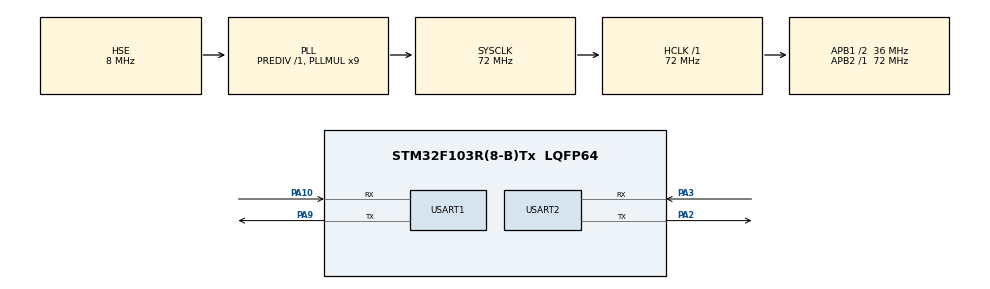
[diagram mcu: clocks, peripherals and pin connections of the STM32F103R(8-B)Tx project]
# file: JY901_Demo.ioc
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Mcu.Family=STM32F1
Mcu.Name=STM32F103R(8-B)Tx
Mcu.Package=LQFP64
NVIC.PriorityGroup=NVIC_PRIORITYGROUP_4
NVIC.USART1_IRQn=true\:0\:0\:false\:false\:true\:true\:true
PA10.Mode=Asynchronous
PA10.Signal=USART1_RX
PA2.Mode=Asynchronous
PA2.Signal=USART2_TX
PA3.Mode=Asynchronous
PA3.Signal=USART2_RX
PA9.Mode=Asynchronous
PA9.Signal=USART1_TX
PD0-OSC_IN.Mode=HSE-External-Oscillator
PD0-OSC_IN.Signal=RCC_OSC_IN
PD1-OSC_OUT.Mode=HSE-External-Oscillator
PD1-OSC_OUT.Signal=RCC_OSC_OUT
ProjectManager.HeapSize=0x200
ProjectManager.StackSize=0x400
ProjectManager.TargetToolchain=MDK-ARM V5.27
RCC.AHBFreq_Value=72000000
RCC.APB1CLKDivider=RCC_HCLK_DIV2
RCC.APB1Freq_Value=36000000
RCC.APB1TimFreq_Value=72000000
RCC.APB2Freq_Value=72000000
RCC.APB2TimFreq_Value=72000000
RCC.HCLKFreq_Value=72000000
RCC.PLLMUL=RCC_PLL_MUL9
RCC.PLLSourceVirtual=RCC_PLLSOURCE_HSE
RCC.SYSCLKFreq_VALUE=72000000
RCC.SYSCLKSource=RCC_SYSCLKSOURCE_PLLCLK
RCC.USBFreq_Value=72000000
USART1.VirtualMode=VM_ASYNC
USART2.VirtualMode=VM_ASYNC
VP_SYS_VS_ND.Mode=No_Debug
board=custom

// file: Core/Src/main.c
/* USER CODE BEGIN Header */
/**
  ******************************************************************************
  * @file           : main.c
  * @brief          : Main program body
  ******************************************************************************
  * @attention
  * 2021年10月7日调试完毕，串口1接收九轴传感器的数据，串口2调试输出数据
  * 可输出角度信息以及时间，加速度以及速度信息
  *
  ******************************************************************************
  */
/* USER CODE END Header */
#include "main.h"
#include "usart.h"
#include "gpio.h"

void SystemClock_Config(void);

/* USER CODE BEGIN 0 */
uint8_t temp;
uint8_t RxBuffer[10] = "\0";
float Roll, Pitch, Yaw, Tempera;
float ax, ay, az;
float sx, sy, sz;
/**
  * @brief  串口调试
  * @retval None
  */
#include "stdio.h"
#define DEBUG
#ifdef DEBUG
#define DBG(format, ...) fprintf(stdout, "[\tDBG](File:%s, Func:%s(), Line:%d): " \
                                , __FILE__, __FUNCTION__, __LINE__);             \
                         fprintf(stdout, format"\r\n", ##__VA_ARGS__)
#else
#define DBG(format, ...)  do {} while (0)
#endif

int fputc(int ch, FILE *f){
    uint8_t temp[1] = {ch};
    HAL_UART_Transmit(&huart2, temp, 1, 2);//huart1 根据配置修改
    return ch;
}
/* USER CODE END 0 */

int main(void)
{

  /* MCU Configuration--------------------------------------------------------*/

  /* Reset of all peripherals, Initializes the Flash interface and the Systick. */
  HAL_Init();

  /* Configure the system clock */
  SystemClock_Config();

  /* Initialize all configured peripherals */
  MX_GPIO_Init();
  MX_USART1_UART_Init();
  MX_USART2_UART_Init();
  /* USER CODE BEGIN 2 */
  HAL_UART_Receive_IT(&huart1, &temp, 1);
  /* USER CODE END 2 */

  /* Infinite loop */
  /* USER CODE BEGIN WHILE */
  while (1)
  {
    printf("翻滚角：%d\r\n", (int)Roll);
    printf("俯仰角：%d\r\n", (int)Pitch);
    printf("偏航角：%d\r\n\r\n", (int)Yaw);

    printf("角加速度：%d %d %d\r\n", (int)ax, (int)ay, (int)az);

    printf("角速度：%d %d %d\r\n", (int)sx, (int)sy, (int)sz);
    /* USER CODE END WHILE */

  }
}

void SystemClock_Config(void)
{
  RCC_OscInitTypeDef RCC_OscInitStruct = {0};
  RCC_ClkInitTypeDef RCC_ClkInitStruct = {0};

  /** Initializes the RCC Oscillators according to the specified parameters
  * in the RCC_OscInitTypeDef structure.
  */
  RCC_OscInitStruct.OscillatorType = RCC_OSCILLATORTYPE_HSE;
  RCC_OscInitStruct.HSEState = RCC_HSE_ON;
  RCC_OscInitStruct.HSEPredivValue = RCC_HSE_PREDIV_DIV1;
  RCC_OscInitStruct.HSIState = RCC_HSI_ON;
  RCC_OscInitStruct.PLL.PLLState = RCC_PLL_ON;
  RCC_OscInitStruct.PLL.PLLSource = RCC_PLLSOURCE_HSE;
  RCC_OscInitStruct.PLL.PLLMUL = RCC_PLL_MUL9;
  if (HAL_RCC_OscConfig(&RCC_OscInitStruct) != HAL_OK)
  {
    Error_Handler();
  }
  /** Initializes the CPU, AHB and APB buses clocks
  */
  RCC_ClkInitStruct.ClockType = RCC_CLOCKTYPE_HCLK|RCC_CLOCKTYPE_SYSCLK
                              |RCC_CLOCKTYPE_PCLK1|RCC_CLOCKTYPE_PCLK2;
  RCC_ClkInitStruct.SYSCLKSource = RCC_SYSCLKSOURCE_PLLCLK;
  RCC_ClkInitStruct.AHBCLKDivider = RCC_SYSCLK_DIV1;
  RCC_ClkInitStruct.APB1CLKDivider = RCC_HCLK_DIV2;
  RCC_ClkInitStruct.APB2CLKDivider = RCC_HCLK_DIV1;

  if (HAL_RCC_ClockConfig(&RCC_ClkInitStruct, FLASH_LATENCY_2) != HAL_OK)
  {
    Error_Handler();
  }
}

/* USER CODE BEGIN 4 */
void HAL_UART_RxCpltCallback(UART_HandleTypeDef *huart) {
  static uint8_t count = 0;
  uint16_t sum;
  static uint8_t mode;
  //printf("helloworld!");
  if(huart -> Instance == huart1.Instance ) {
    if(temp == 0x55 && count == 0)
      count = 1;
    else if (count == 1 && temp >= 0x51 && temp <= 0x53)
    {
      count = 2;
      mode = temp;
    }
    else if (count == 2)
    {
       RxBuffer[0] = temp;
       count = 3;

    }
    else if (count == 3)
    {
       RxBuffer[1] = temp;
       count = 4;
    }
    else if (count == 4)
    {
       RxBuffer[2] = temp;
       count = 5;
    }
    else if (count == 5)
    {
       RxBuffer[3] = temp;
       count = 6;
    }
    else if (count == 6)
    {
       RxBuffer[4] = temp;
       count = 7;
    }
    else if (count == 7)
    {
       RxBuffer[5] = temp;
       count = 8;
    }
    else if (count == 8)
    {
       RxBuffer[6] = temp;
       count = 9;
    }
    else if (count == 9)
    {
       RxBuffer[7] = temp;
       count = 10;
//       sum = 0x55 + 0x53 + RxBuffer[0] + RxBuffer[1] + RxBuffer[2] + RxBuffer[3] + RxBuffer[4] + \
//             RxBuffer[5] + RxBuffer[6] + RxBuffer[7];
      //printf("helloworld!");
    }
    else if (count == 10)
    {
       switch (mode)
       {
          case 0x51:
                ax = (float)((unsigned short)(RxBuffer[1]<<8)|RxBuffer[0]) / 32768 * 16;
                ay = (float)((unsigned short)(RxBuffer[3]<<8)|RxBuffer[2]) / 32768 * 16;
                az = (float)((unsigned short)(RxBuffer[5]<<8)|RxBuffer[4]) / 32768 * 16;
                break;
          case 0x52:
                sx = (float)((unsigned short)(RxBuffer[1]<<8)|RxBuffer[0]) / 32768 * 2000;
                sy = (float)((unsigned short)(RxBuffer[3]<<8)|RxBuffer[2]) / 32768 * 2000;
                sz = (float)((unsigned short)(RxBuffer[5]<<8)|RxBuffer[4]) / 32768 * 2000;
                break;
          case 0x53:
                Roll    = (float)((unsigned short)(RxBuffer[1]<<8)|RxBuffer[0]) / 32768 * 180;
                Pitch   = (float)((unsigned short)(RxBuffer[3]<<8)|RxBuffer[2]) / 32768 * 180;
                Yaw     = (float)((unsigned short)(RxBuffer[5]<<8)|RxBuffer[4]) / 32768 * 180;
                Tempera = (float)((unsigned short)(RxBuffer[7]<<8)|RxBuffer[6]) / 100;
                break;
       }

       //printf("helloworld!");
       count = 0;
    }

    else
       count = 0;
  }
  HAL_UART_Receive_IT(&huart1, &temp, 1);
}
/* USER CODE END 4 */

void Error_Handler(void)
{
}

/************************ (C) COPYRIGHT STMicroelectronics *****END OF FILE****/
